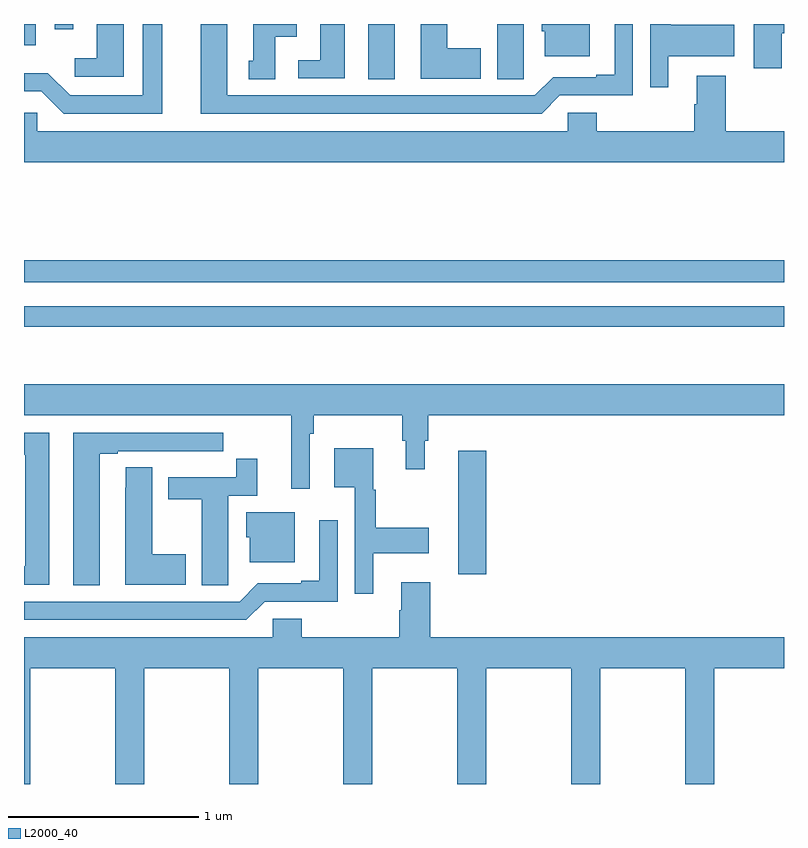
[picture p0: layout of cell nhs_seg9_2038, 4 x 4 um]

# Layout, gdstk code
import gdstk
lib = gdstk.Library(unit=1e-6, precision=1e-09)
def R(c, l, rs):  # rectangles x0, y0, x1, y1
    for r in rs: c.add(gdstk.rectangle(r[:2], r[2:], *l))
def P(c, l, *ps):  # polygons
    for p in ps: c.add(gdstk.Polygon(p, *l))
L2000_40 = (2000, 40)

nhs_seg9_2038 = lib.new_cell('nhs_seg9_2038')
R(nhs_seg9_2038, L2000_40, [(229.286,1175.604,229.433,1176.253), (227,1176.906,231,1177.014), (227,1177.14,231,1177.256), (228.812,1178.209,228.952,1178.5), (227,1178.387,227.062,1178.5), (227.163,1178.472,227.259,1178.5)])
P(nhs_seg9_2038, L2000_40, [(229.629,1178.32),(229.63,1178.32),(229.63,1178.5),(229.49,1178.5),(229.49,1178.209),(229.629,1178.209)],
  [(228.322,1178.432),(228.436,1178.432),(228.436,1178.5),(228.206,1178.5),(228.206,1178.307),(228.182,1178.307),(228.182,1178.209),(228.322,1178.209)],
  [(228.688,1178.5),(228.56,1178.5),(228.56,1178.31),(228.444,1178.31),(228.444,1178.214),(228.688,1178.214)],
  [(229.821,1178.124),(230.205,1178.124),(230.205,1178.5),(230.108,1178.5),(230.108,1178.233),(230.012,1178.233),(230.012,1178.22),(229.785,1178.22),(229.689,1178.124),(228.07,1178.124),(228.07,1178.5),(227.93,1178.5),(227.93,1178.028),(229.725,1178.028)],
  [(230.987,1178.452),(231,1178.452),(231,1178.5),(230.84,1178.5),(230.84,1178.268),(230.987,1178.268)],
  [(229.978,1178.5),(229.724,1178.5),(229.724,1178.463),(229.742,1178.463),(229.742,1178.33),(229.978,1178.33)],
  [(227.524,1178.5),(227.384,1178.5),(227.384,1178.32),(227.268,1178.32),(227.268,1178.223),(227.524,1178.223)],
  [(227.728,1178.5),(227.624,1178.5),(227.624,1178.124),(227.244,1178.124),(227.126,1178.242),(227.03,1178.242),(227.03,1178.241),(227,1178.241),(227,1178.145),(227.091,1178.145),(227.208,1178.028),(227.728,1178.028)],
  [(229.405,1178.373),(229.228,1178.373),(229.228,1178.5),(229.088,1178.5),(229.088,1178.213),(229.405,1178.213)],
  [(230.392,1178.33),(230.737,1178.33),(230.737,1178.496),(230.404,1178.496),(230.404,1178.5),(230.295,1178.5),(230.295,1178.166),(230.392,1178.166)],
  [(231,1177.936),(230.693,1177.936),(230.693,1178.227),(230.54,1178.227),(230.54,1178.078),(230.528,1178.078),(230.528,1177.936),(230.015,1177.936),(230.015,1178.034),(229.863,1178.034),(229.863,1177.936),(227.07,1177.936),(227.07,1178.034),(227,1178.034),(227,1177.772),(231,1177.772)],
  [(228.504,1176.344),(228.524,1176.344),(228.524,1176.44),(228.991,1176.44),(228.991,1176.306),(229.01,1176.306),(229.01,1176.156),(229.108,1176.156),(229.108,1176.306),(229.127,1176.306),(229.127,1176.44),(231,1176.44),(231,1176.604),(227,1176.604),(227,1176.44),(228.407,1176.44),(228.407,1176.054),(228.504,1176.054)],
  [(227.398,1176.237),(227.494,1176.237),(227.494,1176.252),(227.77,1176.252),(227.77,1176.251),(227.936,1176.251),(227.936,1176.252),(228.049,1176.252),(228.049,1176.348),(227.258,1176.348),(227.258,1175.545),(227.398,1175.545)],
  [(227.134,1176.348),(227,1176.348),(227,1176.232),(227.006,1176.232),(227.006,1175.646),(227,1175.646),(227,1175.55),(227.134,1175.55)],
  [(228.838,1175.714),(229.129,1175.714),(229.129,1175.849),(228.85,1175.849),(228.85,1176.048),(228.838,1176.048),(228.838,1176.268),(228.632,1176.268),(228.632,1176.062),(228.741,1176.062),(228.741,1175.502),(228.838,1175.502)],
  [(228.075,1175.656),(228.076,1175.656),(228.076,1176.018),(228.227,1176.018),(228.227,1176.211),(228.118,1176.211),(228.118,1176.114),(227.759,1176.114),(227.759,1175.998),(227.936,1175.998),(227.936,1175.545),(228.075,1175.545)],
  [(227.851,1175.709),(227.674,1175.709),(227.674,1176.167),(227.535,1176.167),(227.535,1176.059),(227.534,1176.059),(227.534,1175.549),(227.851,1175.549)],
  [(228.424,1175.929),(228.17,1175.929),(228.17,1175.799),(228.188,1175.799),(228.188,1175.666),(228.424,1175.666)],
  [(228.267,1175.46),(228.651,1175.46),(228.651,1175.887),(228.554,1175.887),(228.554,1175.569),(228.458,1175.569),(228.458,1175.556),(228.231,1175.556),(228.135,1175.46),(227,1175.46),(227,1175.364),(228.171,1175.364)],
  [(229.139,1175.563),(228.986,1175.563),(228.986,1175.414),(228.974,1175.414),(228.974,1175.272),(228.461,1175.272),(228.461,1175.37),(228.309,1175.37),(228.309,1175.272),(227,1175.272),(227,1174.5),(227.034,1174.5),(227.034,1175.108),(227.479,1175.108),(227.479,1174.5),(227.634,1174.5),(227.634,1175.108),(228.079,1175.108),(228.079,1174.5),(228.234,1174.5),(228.234,1175.108),(228.679,1175.108),(228.679,1174.5),(228.834,1174.5),(228.834,1175.108),(229.279,1175.108),(229.279,1174.5),(229.434,1174.5),(229.434,1175.108),(229.879,1175.108),(229.879,1174.5),(230.034,1174.5),(230.034,1175.108),(230.479,1175.108),(230.479,1174.5),(230.634,1174.5),(230.634,1175.108),(231,1175.108),(231,1175.272),(229.139,1175.272)])

lib.write_gds('nhs_seg9_2038.gds')
